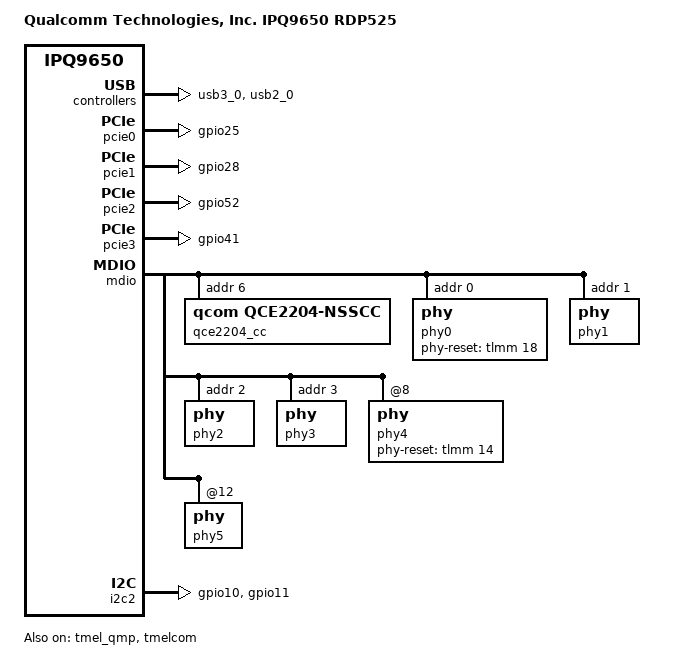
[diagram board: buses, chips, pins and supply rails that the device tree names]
// SPDX-License-Identifier: GPL-2.0-only
/*
 * Copyright (c) Qualcomm Technologies, Inc. and/or its subsidiaries.
 */

/dts-v1/;

#include "ipq9650-u-boot.dtsi"
#include <asm/arch/dt-bindings/clock/qcom,qce2204-nsscc.h>
#include <asm/arch/dt-bindings/reset/qcom,qce2204-nsscc.h>

/ {
	model = "Qualcomm Technologies, Inc. IPQ9650 RDP525";
	compatible = "qcom,ipq9650-rdp525", "qcom,ipq9650";

	soc@0 {
		qusb2_phy_0: qusb2_0@7b000 {
			status = "okay";
		};

		qmp_ssphy_0: ssphy@7d000 {
			status = "okay";
		};

		usb3_0: usb3_0@8af8800 {
			status = "okay";
		};

		qusb2_phy_1: qusb2_1@71000 {
			status = "okay";
		};

		usb2_0: usb2_0@1ef8800 {
			status = "okay";
		};

		pcie0_phy: phy@84000 {
			status = "okay";
		};

		pcie1_phy: phy@f4000 {
			status = "okay";
		};

		pcie2_phy: phy@fc000 {
			status = "okay";
		};

		pcie3_phy: phy@b4000 {
			status = "okay";
		};

		pcie0: pcie@70000000 {
			pinctrl-0 = <&pcie0_default_state>;
			pinctrl-names = "default";
			perst-gpios = <&tlmm 25 GPIO_ACTIVE_LOW>;
			status = "okay";
		};

		pcie1: pcie@50000000 {
			pinctrl-0 = <&pcie1_default_state>;
			pinctrl-names = "default";
			perst-gpios = <&tlmm 28 GPIO_ACTIVE_LOW>;
			status = "okay";
		};

		pcie2: pcie@40000000 {
			pinctrl-0 = <&pcie2_default_state>;
			pinctrl-names = "default";
			perst-gpios = <&tlmm 52 GPIO_ACTIVE_LOW>;
			status = "okay";
		};

		pcie3: pcie@30000000 {
			pinctrl-0 = <&pcie3_default_state>;
			pinctrl-names = "default";
			perst-gpios = <&tlmm 41 GPIO_ACTIVE_LOW>;
			status = "okay";
		};

		mdio: mdio@90000 {
			status = "okay";

			qce2204_cc: clock-controller@6 {
				compatible = "qcom,qce2204-nsscc";
				reg = <6 0>;
				#clock-cells = <1>;
				#reset-cells = <1>;
			};

			phy0: phy@0 {
				phy-reset-gpio = <&tlmm 18 0>;
				reg = <0 0>;
				phy_addr = <0>;
				phy_type = <QCE1204_PHY_TYPE>;
				id = <1>;
				uniphy_id = <0>;
				uniphy_type = <0>;
				xgmac;
				qcom,package-mode = "qusgmii";
				base_addr = <0>;

				/* Per-PHY clocks */
				clocks = <&qce2204_cc QCE2204_NSSCC_SRDS1_SYS_CLK>,
					<&qce2204_cc QCE2204_NSSCC_MAC1_GEPHY0_TX_CLK>,
					<&qce2204_cc QCE2204_NSSCC_MAC1_GEPHY0_RX_CLK>,
					<&qce2204_cc QCE2204_NSSCC_GEPHY0_SYS_CLK>,
					/* Shared clocks for package */
					<&qce2204_cc QCE2204_NSSCC_MAC1_SRDS1_CH0_TX_CLK>,
					<&qce2204_cc QCE2204_NSSCC_MAC1_SRDS1_CH0_RX_CLK>,
					<&qce2204_cc QCE2204_NSSCC_MAC0_1_SRDS1_CH0_XGMII_TX_CLK>,
					<&qce2204_cc QCE2204_NSSCC_MAC0_1_SRDS1_CH0_XGMII_RX_CLK>,
					<&qce2204_cc QCE2204_NSSCC_MAC2_SRDS1_CH1_TX_CLK>,
					<&qce2204_cc QCE2204_NSSCC_MAC2_SRDS1_CH1_RX_CLK>,
					<&qce2204_cc QCE2204_NSSCC_MAC2_SRDS1_CH1_XGMII_TX_CLK>,
					<&qce2204_cc QCE2204_NSSCC_MAC2_SRDS1_CH1_XGMII_RX_CLK>,
					<&qce2204_cc QCE2204_NSSCC_MAC3_SRDS1_CH2_TX_CLK>,
					<&qce2204_cc QCE2204_NSSCC_MAC3_SRDS1_CH2_RX_CLK>,
					<&qce2204_cc QCE2204_NSSCC_MAC3_SRDS1_CH2_XGMII_TX_CLK>,
					<&qce2204_cc QCE2204_NSSCC_MAC3_SRDS1_CH2_XGMII_RX_CLK>,
					<&qce2204_cc QCE2204_NSSCC_MAC4_SRDS1_CH3_TX_CLK>,
					<&qce2204_cc QCE2204_NSSCC_MAC4_SRDS1_CH3_RX_CLK>,
					<&qce2204_cc QCE2204_NSSCC_MAC4_SRDS1_CH3_XGMII_TX_CLK>,
					<&qce2204_cc QCE2204_NSSCC_MAC4_SRDS1_CH3_XGMII_RX_CLK>,
					<&qce2204_cc QCE2204_NSSCC_AHB_CLK>,
					<&qce2204_cc QCE2204_NSSCC_SRDS1_RX_MUX_SEL>,
					<&qce2204_cc QCE2204_NSSCC_SRDS1_TX_MUX_SEL>,
					<&qce2204_cc QCE2204_NSSCC_SRDS1_XGMII_RX_MUX_SEL>,
					<&qce2204_cc QCE2204_NSSCC_SRDS1_XGMII_TX_MUX_SEL>;
				clock-names = "pcs_sys_clk", "tx_clk", "rx_clk", "sys_clk",
					"ch0_gmii_tx_clk",
					"ch0_gmii_rx_clk",
					"ch0_xgmii_tx_clk",
					"ch0_xgmii_rx_clk",
					"ch1_gmii_tx_clk",
					"ch1_gmii_rx_clk",
					"ch1_xgmii_tx_clk",
					"ch1_xgmii_rx_clk",
					"ch2_gmii_tx_clk",
					"ch2_gmii_rx_clk",
					"ch2_xgmii_tx_clk",
					"ch2_xgmii_rx_clk",
					"ch3_gmii_tx_clk",
					"ch3_gmii_rx_clk",
					"ch3_xgmii_tx_clk",
					"ch3_xgmii_rx_clk",
					"ahb_clk",
					"srds1_rx_mux",
					"srds1_tx_mux",
					"srds1_xgmii_rx_mux",
					"srds1_xgmii_tx_mux";

				/* Per-PHY resets */
				resets = <&qce2204_cc QCE2204_NSSCC_SRDS1_SYS_ARES>,
					<&qce2204_cc QCE2204_NSSCC_MAC1_GEPHY0_TX_ARES>,
					<&qce2204_cc QCE2204_NSSCC_MAC1_GEPHY0_RX_ARES>,
					<&qce2204_cc QCE2204_NSSCC_GEPHY0_SYS_ARES>,
					/* Shared resets for package */
					<&qce2204_cc QCE2204_NSSCC_MAC1_SRDS1_CH0_TX_ARES>,
					<&qce2204_cc QCE2204_NSSCC_MAC1_SRDS1_CH0_RX_ARES>,
					<&qce2204_cc QCE2204_NSSCC_MAC0_1_SRDS1_CH0_XGMII_TX_ARES>,
					<&qce2204_cc QCE2204_NSSCC_MAC0_1_SRDS1_CH0_XGMII_RX_ARES>,
					<&qce2204_cc QCE2204_NSSCC_MAC2_SRDS1_CH1_TX_ARES>,
					<&qce2204_cc QCE2204_NSSCC_MAC2_SRDS1_CH1_RX_ARES>,
					<&qce2204_cc QCE2204_NSSCC_MAC2_SRDS1_CH1_XGMII_TX_ARES>,
					<&qce2204_cc QCE2204_NSSCC_MAC2_SRDS1_CH1_XGMII_RX_ARES>,
					<&qce2204_cc QCE2204_NSSCC_MAC3_SRDS1_CH2_TX_ARES>,
					<&qce2204_cc QCE2204_NSSCC_MAC3_SRDS1_CH2_RX_ARES>,
					<&qce2204_cc QCE2204_NSSCC_MAC3_SRDS1_CH2_XGMII_TX_ARES>,
					<&qce2204_cc QCE2204_NSSCC_MAC3_SRDS1_CH2_XGMII_RX_ARES>,
					<&qce2204_cc QCE2204_NSSCC_MAC4_SRDS1_CH3_TX_ARES>,
					<&qce2204_cc QCE2204_NSSCC_MAC4_SRDS1_CH3_RX_ARES>,
					<&qce2204_cc QCE2204_NSSCC_MAC4_SRDS1_CH3_XGMII_TX_ARES>,
					<&qce2204_cc QCE2204_NSSCC_MAC4_SRDS1_CH3_XGMII_RX_ARES>,
					<&qce2204_cc QCE2204_NSSCC_SRDS1_XPCS_ARES>,
					<&qce2204_cc QCE2204_NSSCC_SWITCH_BTQ_ARES>,
					<&qce2204_cc QCE2204_NSSCC_SWITCH_CFG_ARES>,
					<&qce2204_cc QCE2204_NSSCC_SWITCH_CORE_ARES>,
					<&qce2204_cc QCE2204_NSSCC_SWITCH_IPE_ARES>,
					<&qce2204_cc QCE2204_NSSCC_SWITCH_MAC0_ARES>,
					<&qce2204_cc QCE2204_NSSCC_SWITCH_MAC1_ARES>,
					<&qce2204_cc QCE2204_NSSCC_SWITCH_MAC2_ARES>,
					<&qce2204_cc QCE2204_NSSCC_SWITCH_MAC3_ARES>,
					<&qce2204_cc QCE2204_NSSCC_SWITCH_MAC4_ARES>,
					<&qce2204_cc QCE2204_NSSCC_SWITCH_MAC5_ARES>,
					<&qce2204_cc QCE2204_NSSCC_XGMAC0_PTP_REF_ARES>,
					<&qce2204_cc QCE2204_NSSCC_XGMAC1_PTP_REF_ARES>,
					<&qce2204_cc QCE2204_NSSCC_MAC0_TX_ARES>,
					<&qce2204_cc QCE2204_NSSCC_MAC0_RX_ARES>,
					<&qce2204_cc QCE2204_NSSCC_MAC1_TX_ARES>,
					<&qce2204_cc QCE2204_NSSCC_MAC1_RX_ARES>,
					<&qce2204_cc QCE2204_NSSCC_MAC2_TX_ARES>,
					<&qce2204_cc QCE2204_NSSCC_MAC2_RX_ARES>,
					<&qce2204_cc QCE2204_NSSCC_MAC3_TX_ARES>,
					<&qce2204_cc QCE2204_NSSCC_MAC3_RX_ARES>,
					<&qce2204_cc QCE2204_NSSCC_MAC4_TX_ARES>,
					<&qce2204_cc QCE2204_NSSCC_MAC4_RX_ARES>,
					<&qce2204_cc QCE2204_NSSCC_MAC5_TX_ARES>,
					<&qce2204_cc QCE2204_NSSCC_MAC5_RX_ARES>;
				reset-names = "pcs_sys_reset", "tx_reset", "rx_reset", "sys_reset",
					"ch0_gmii_tx_reset",
					"ch0_gmii_rx_reset",
					"ch0_xgmii_tx_reset",
					"ch0_xgmii_rx_reset",
					"ch1_gmii_tx_reset",
					"ch1_gmii_rx_reset",
					"ch1_xgmii_tx_reset",
					"ch1_xgmii_rx_reset",
					"ch2_gmii_tx_reset",
					"ch2_gmii_rx_reset",
					"ch2_xgmii_tx_reset",
					"ch2_xgmii_rx_reset",
					"ch3_gmii_tx_reset",
					"ch3_gmii_rx_reset",
					"ch3_xgmii_tx_reset",
					"ch3_xgmii_rx_reset",
					"xpcs",
					"switch_btq_reset",
					"switch_cfg_reset",
					"switch_core_reset",
					"switch_ipe_reset",
					"switch_mac0_reset",
					"switch_mac1_reset",
					"switch_mac2_reset",
					"switch_mac3_reset",
					"switch_mac4_reset",
					"switch_mac5_reset",
					"xgmac0_ptp_ref_reset",
					"xgmac1_ptp_ref_reset",
					"mac0_tx_reset",
					"mac0_rx_reset",
					"mac1_tx_reset",
					"mac1_rx_reset",
					"mac2_tx_reset",
					"mac2_rx_reset",
					"mac3_tx_reset",
					"mac3_rx_reset",
					"mac4_tx_reset",
					"mac4_rx_reset",
					"mac5_tx_reset",
					"mac5_rx_reset";
			};

			phy1: phy@1 {
				reg = <1 0>;
				phy_addr = <1>;
				phy_type = <QCE1204_PHY_TYPE>;
				id = <2>;
				uniphy_id = <0>;
				uniphy_type = <0>;
				xgmac;
				qcom,package-mode = "qusgmii";

				clocks = <&qce2204_cc QCE2204_NSSCC_MAC2_GEPHY1_TX_CLK>,
					<&qce2204_cc QCE2204_NSSCC_MAC2_GEPHY1_RX_CLK>,
					<&qce2204_cc QCE2204_NSSCC_GEPHY1_SYS_CLK>;
				clock-names = "tx_clk", "rx_clk", "sys_clk";

				resets = <&qce2204_cc QCE2204_NSSCC_MAC2_GEPHY1_TX_ARES>,
					<&qce2204_cc QCE2204_NSSCC_MAC2_GEPHY1_RX_ARES>,
					<&qce2204_cc QCE2204_NSSCC_GEPHY1_SYS_ARES>;
				reset-names = "tx_reset", "rx_reset", "sys_reset";
			};

			phy2: phy@2 {
				reg = <2 0>;
				phy_addr = <2>;
				phy_type = <QCE1204_PHY_TYPE>;
				id = <3>;
				uniphy_id = <0>;
				uniphy_type = <0>;
				xgmac;
				qcom,package-mode = "qusgmii";

				clocks = <&qce2204_cc QCE2204_NSSCC_MAC3_GEPHY2_TX_CLK>,
					<&qce2204_cc QCE2204_NSSCC_MAC3_GEPHY2_RX_CLK>,
					<&qce2204_cc QCE2204_NSSCC_GEPHY2_SYS_CLK>;
				clock-names = "tx_clk", "rx_clk", "sys_clk";

				resets = <&qce2204_cc QCE2204_NSSCC_MAC3_GEPHY2_TX_ARES>,
					<&qce2204_cc QCE2204_NSSCC_MAC3_GEPHY2_RX_ARES>,
					<&qce2204_cc QCE2204_NSSCC_GEPHY2_SYS_ARES>;
				reset-names = "tx_reset", "rx_reset", "sys_reset";
			};

			phy3: phy@3 {
				reg = <3 0>;
				phy_addr = <3>;
				phy_type = <QCE1204_PHY_TYPE>;
				id = <4>;
				uniphy_id = <0>;
				uniphy_type = <0>;
				xgmac;
				qcom,package-mode = "qusgmii";

				clocks = <&qce2204_cc QCE2204_NSSCC_MAC4_GEPHY3_TX_CLK>,
					<&qce2204_cc QCE2204_NSSCC_MAC4_GEPHY3_RX_CLK>,
					<&qce2204_cc QCE2204_NSSCC_GEPHY3_SYS_CLK>;
				clock-names = "tx_clk", "rx_clk", "sys_clk";

				resets = <&qce2204_cc QCE2204_NSSCC_MAC4_GEPHY3_TX_ARES>,
					<&qce2204_cc QCE2204_NSSCC_MAC4_GEPHY3_RX_ARES>,
					<&qce2204_cc QCE2204_NSSCC_GEPHY3_SYS_ARES>;
				reset-names = "tx_reset", "rx_reset", "sys_reset";
			};

			phy4: phy@8 {
				phy-reset-gpio = <&tlmm 14 0>;
				phy_addr = <8>;
				phy_type = <QCA81xx_PHY_TYPE>;
				id = <5>;
				uniphy_id = <1>;
				uniphy_type = <1>;
				xgmac;
			};

			phy5: phy@12 {
				phy_addr = <12>;
				phy_type = <QCA81xx_PHY_TYPE>;
				id = <6>;
				uniphy_id = <2>;
				uniphy_type = <0>;
				xgmac;
			};
		};

		ess_instance: ess-instance {
			pinctrl-names = "default";
			pinctrl-0 = <&phy_rst_pinmux>;
			phy-handle0 = <&phy0>;
			phy-handle1 = <&phy1>;
			phy-handle2 = <&phy2>;
			phy-handle3 = <&phy3>;
			phy-handle4 = <&phy4>;
			phy-handle5 = <&phy5>;
			status = "okay";
		};
	};
};

&tlmm {
	pcie0_default_state: pcie0-default-state {
		perst-n-pins {
			pins = "gpio25";
			function = "gpio";
			drive-strength = <8>;
			bias-pull-down;
			output-low;
		};
	};

	pcie1_default_state: pcie1-default-state {
		perst-n-pins {
			pins = "gpio28";
			function = "gpio";
			drive-strength = <8>;
			bias-pull-down;
			output-low;
		};
	};

	pcie2_default_state: pcie2-default-state {
		perst-n-pins {
			pins = "gpio52";
			function = "gpio";
			drive-strength = <8>;
			bias-pull-down;
			output-low;
		};
	};

	pcie3_default_state: pcie3-default-state {
		perst-n-pins {
			pins = "gpio41";
			function = "gpio";
			drive-strength = <8>;
			bias-pull-down;
			output-low;
		};
	};

	i2c1_pinmux: i2c1 {
		i2c1_scl {
			pins = "gpio16";
			function = "i2c1_scl";
			drive-strength = <8>;
			bias-pull-up;
		};

		i2c1_sda {
			pins = "gpio17";
			function = "i2c1_sda";
			drive-strength = <8>;
			bias-pull-up;
		};
	};

	i2c2_pinmux: i2c2 {
		i2c2_scl {
			pins = "gpio10";
			function = "qup_se1_l1";
			drive-strength = <8>;
			bias-pull-up;
		};

		i2c2_sda {
			pins = "gpio11";
			function = "qup_se1_l0";
			drive-strength = <8>;
			bias-pull-up;
		};
	};

	phy_rst_pinmux: phy_rst {
		qce1204_rst {
			pins = "gpio18";
			function = "gpio";
			drive-strength = <2>;
			bias-pull-up;
			output-low;
		};

		qca81xx_rst {
			pins = "gpio14";
			function = "gpio";
			drive-strength = <2>;
			bias-pull-up;
			output-low;
		};
	};
};

&qupv3 {
	i2c1: i2c@1a8c000 {
		pinctrl-0 = <&i2c1_pinmux>;
		pinctrl-names = "default";
		status = "disabled";
	};

	i2c2: i2c@1A84000 {
		pinctrl-0 = <&i2c2_pinmux>;
		pinctrl-names = "default";
		status = "okay";
	};
};

&tmel_qmp {
	status = "okay";
};

&tmelcom {
	status = "okay";
};
